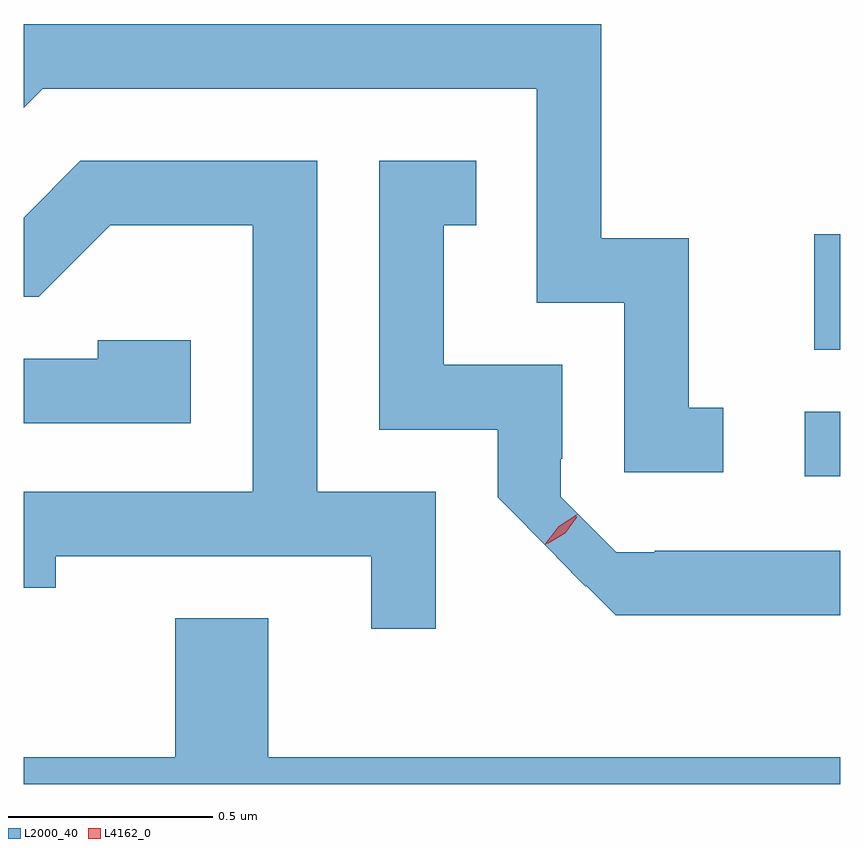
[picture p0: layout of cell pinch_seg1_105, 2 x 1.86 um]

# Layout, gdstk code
import gdstk
lib = gdstk.Library(unit=1e-6, precision=1e-09)
def R(c, l, rs):  # rectangles x0, y0, x1, y1
    for r in rs: c.add(gdstk.rectangle(r[:2], r[2:], *l))
def P(c, l, *ps):  # polygons
    for p in ps: c.add(gdstk.Polygon(p, *l))
L2000_40 = (2000, 40)
L4162_0 = (4162, 0)

pinch_seg1_105 = lib.new_cell('pinch_seg1_105')
R(pinch_seg1_105, L2000_40, [(214.873,867.231,214.96,867.389), (214.896,867.541,214.96,867.824)])
P(pinch_seg1_105, L2000_40, [(214.673,867.399),(214.589,867.399),(214.589,867.814),(214.374,867.814),(214.374,868.339),(212.96,868.339),(212.96,868.134),(213.007,868.181),(214.216,868.181),(214.216,867.656),(214.431,867.656),(214.431,867.241),(214.673,867.241)],
  [(213.969,867.194),(213.679,867.194),(213.679,868.004),(213.099,868.004),(212.96,867.865),(212.96,867.671),(212.997,867.671),(213.172,867.846),(213.521,867.846),(213.521,867.194),(212.96,867.194),(212.96,866.958),(213.039,866.958),(213.039,867.036),(213.811,867.036),(213.811,866.858),(213.969,866.858)],
  [(214.96,867.049),(214.505,867.049),(214.505,867.045),(214.411,867.045),(214.275,867.181),(214.275,867.275),(214.279,867.275),(214.279,867.504),(213.989,867.504),(213.989,867.846),(214.068,867.846),(214.068,868.004),(213.831,868.004),(213.831,867.346),(214.121,867.346),(214.121,867.18),(214.265,867.035),(214.264,867.034),(214.336,866.961),(214.338,866.963),(214.41,866.891),(214.96,866.891)],
  [(213.369,867.564),(213.141,867.564),(213.141,867.519),(212.96,867.519),(212.96,867.361),(213.369,867.361)],
  [(214.96,866.544),(213.559,866.544),(213.559,866.884),(213.331,866.884),(213.331,866.544),(212.96,866.544),(212.96,866.478),(214.96,866.478)])
P(pinch_seg1_105, L4162_0, [(214.237,867.065),(214.237,867.066),(214.27,867.109),(214.316,867.139),(214.316,867.139),(214.316,867.139),(214.283,867.095),(214.238,867.065)],
  [(214.243,867.066),(214.243,867.066),(214.272,867.107),(214.315,867.133),(214.316,867.133),(214.316,867.132),(214.286,867.092),(214.244,867.066)])

lib.write_gds('pinch_seg1_105.gds')
